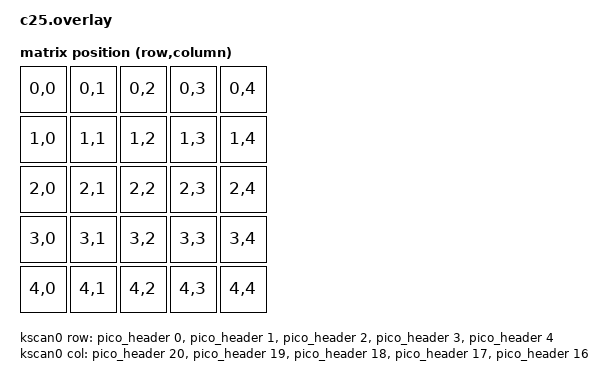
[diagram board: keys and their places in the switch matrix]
/*
 * Copyright (c) 2020 The ZMK Contributors
 *
 * SPDX-License-Identifier: MIT
 */

#include <dt-bindings/zmk/matrix_transform.h>
#include "c25-layouts.dtsi"
// #include <physical_layouts.dtsi>

// #include <layouts/common/60percent/ansi.dtsi>

/ {
    chosen {
        zmk,kscan = &kscan0;
        zmk,physical-layout = &physical_layout0;
    };

    kscan0: kscan {
        compatible = "zmk,kscan-gpio-matrix";
        wakeup-source;

        diode-direction = "col2row";
        row-gpios
            = <&pico_header 0 (GPIO_ACTIVE_HIGH | GPIO_PULL_DOWN)>
            , <&pico_header 1 (GPIO_ACTIVE_HIGH | GPIO_PULL_DOWN)>
            , <&pico_header 2 (GPIO_ACTIVE_HIGH | GPIO_PULL_DOWN)>
            , <&pico_header 3 (GPIO_ACTIVE_HIGH | GPIO_PULL_DOWN)>
            , <&pico_header 4 (GPIO_ACTIVE_HIGH | GPIO_PULL_DOWN)>
            ;
        col-gpios
            = <&pico_header 20 GPIO_ACTIVE_HIGH>
            , <&pico_header 19 GPIO_ACTIVE_HIGH>
            , <&pico_header 18 GPIO_ACTIVE_HIGH>
            , <&pico_header 17 GPIO_ACTIVE_HIGH>
            , <&pico_header 16 GPIO_ACTIVE_HIGH>
            ;
    };

    default_transform: keymap_transform_0 {
        compatible = "zmk,matrix-transform";
        columns = <5>;
        rows = <5>;
// | MX1  | MX2  | MX3  | MX4  | MX5  | MX6  | MX7  | MX8  | MX9  | MX10 | MX11 | MX12 | MX13 |    MX14     |
// |   MX15   | MX16 | MX17 | MX18 | MX19 | MX20 | MX21 | MX22 | MX23 | MX24 | MX25 | MX26 | MX27 |  MX28   |
// |    MX29    | MX30 | MX31 | MX32 | MX33 | MX34 | MX35 | MX36 | MX37 | MX38 | MX39 | MX40 |     MX41     |
// |     MX42      | MX43 | MX44 | MX45 | MX46 | MX47 | MX48 | MX49 | MX50 | MX51 | MX52 |       MX53       |
// |  MX54  |  MX55  |  MX56  |                  MX57                   |  MX58  |  MX59  |  MX60  |  MX61  |
        map = <
RC(0,0)  RC(0,1) RC(0,2) RC(0,3) RC(0,4)
RC(1,0)  RC(1,1) RC(1,2) RC(1,3) RC(1,4)
RC(2,0)  RC(2,1) RC(2,2) RC(2,3) RC(2,4)
RC(3,0)  RC(3,1) RC(3,2) RC(3,3) RC(3,4)
RC(4,0)  RC(4,1) RC(4,2) RC(4,3) RC(4,4)
        >;
    };
};

&physical_layout0 {
    kscan = <&kscan0>;
    transform = <&default_transform>;
};
